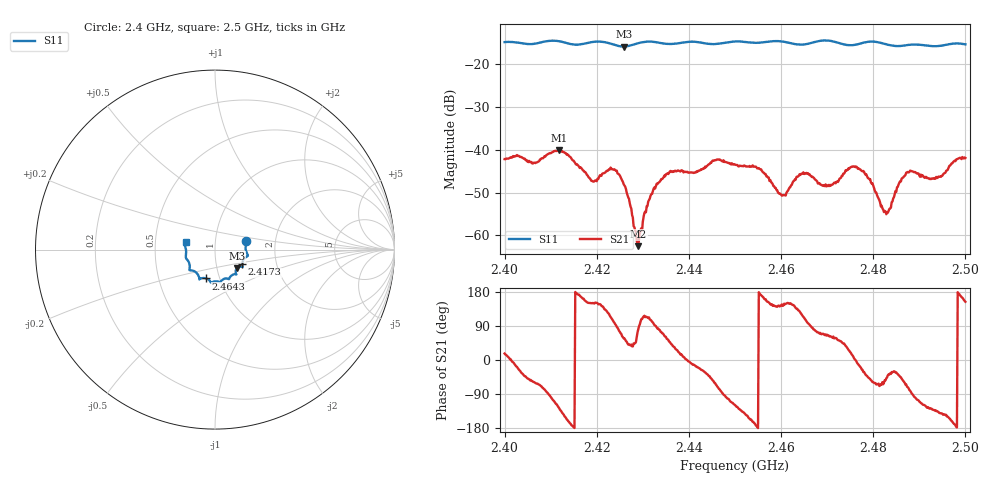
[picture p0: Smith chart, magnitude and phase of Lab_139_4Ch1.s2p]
# Hz S RI R 50
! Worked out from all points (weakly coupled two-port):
!   601 points, 2.4 GHz to 2.5 GHz, reference 50 ohm
!   highest |S21| = -40.16 dB at 2.4118 GHz (marker M1); lowest = -62.5 dB at 2.429 GHz (marker M2)
!   lowest |S11| = -15.9 dB at 2.4258 GHz (marker M3), VSWR 1.38, Z = 62.3 - j13.2 ohm
!   |S11| at or under -10 dB: start of sweep to end of sweep
!   S12 and S22 are empty: the file has one direction only
!   S11 on the Smith chart (normalised r, x): 2.4 GHz: 1.41, +0.14; 2.4173 GHz: 1.34, -0.23; 2.4643 GHz: 0.86, -0.28; 2.5 GHz: 0.72, +0.06
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2.4e9  0.1732 0.0492  0.00743 0.00228  0 0  0 0
2.4065e9  0.1722 -0.00441  0.00365 -0.00605  0 0  0 0
2.411833e9  0.1807 -0.0369  -0.0059 -0.00785  0 0  0 0
2.416667e9  0.1528 -0.0743  -0.0059 0.0015  0 0  0 0
2.417333e9  0.1521 -0.0817  -0.00509 0.00208  0 0  0 0
2.4195e9  0.1539 -0.0966  -0.00368 0.0022  0 0  0 0
2.4235e9  0.1413 -0.0939  -0.00142 0.00571  0 0  0 0
2.425833e9  0.1217 -0.1036  0.00215 0.00333  0 0  0 0
2.429e9  0.1159 -0.1311  0.000122 0.00074  0 0  0 0
2.433333e9  0.113 -0.137  0.000495 0.00406  0 0  0 0
2.445667e9  0.0506 -0.1632  0.00371 -0.00658  0 0  0 0
2.45e9  0.0294 -0.1808  -0.00327 -0.00587  0 0  0 0
2.455167e9  0.00036 -0.177  -0.0061 0.000108  0 0  0 0
2.4605e9  -0.0247 -0.1806  -0.00239 0.00174  0 0  0 0
2.464333e9  -0.0499 -0.1605  -0.00282 0.0044  0 0  0 0
2.466667e9  -0.0757 -0.1597  0.000363 0.00479  0 0  0 0
2.470333e9  -0.0872 -0.1657  0.00166 0.00351  0 0  0 0
2.476333e9  -0.1199 -0.1183  0.00635 -0.000335  0 0  0 0
2.483333e9  -0.1407 -0.0898  0.00152 -0.00119  0 0  0 0
2.487667e9  -0.1585 -0.0524  0.00147 -0.00523  0 0  0 0
2.4935e9  -0.1609 -0.00765  -0.00311 -0.00339  0 0  0 0
2.5e9  -0.1642 0.0422  -0.00719 0.00355  0 0  0 0
